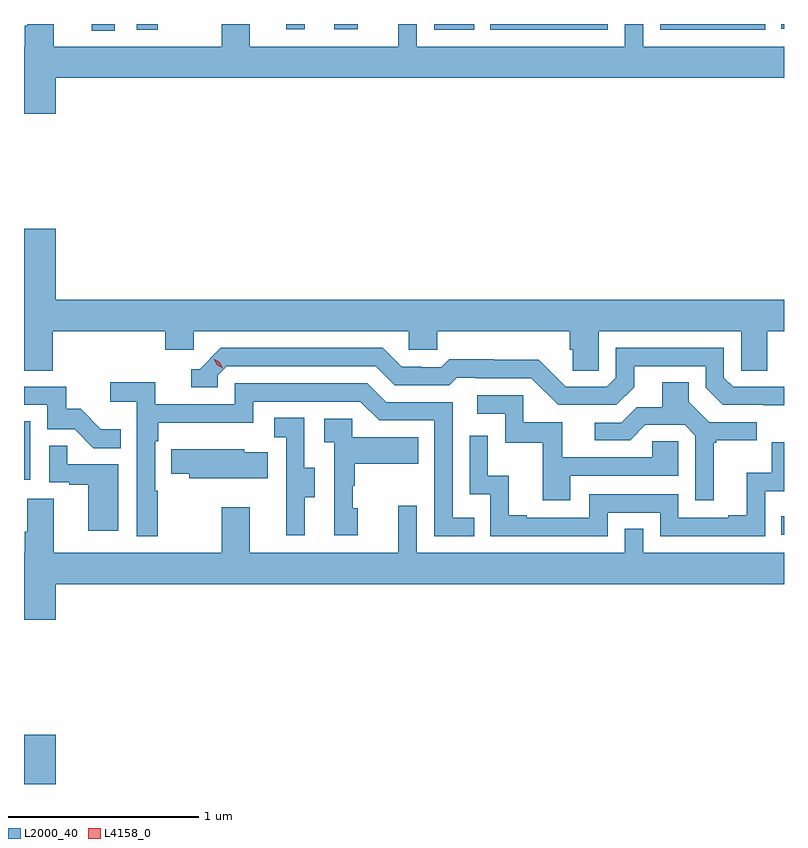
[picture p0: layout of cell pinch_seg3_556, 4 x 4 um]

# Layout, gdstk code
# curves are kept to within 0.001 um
import gdstk
lib = gdstk.Library(unit=1e-6, precision=1e-09)
def R(c, l, rs):  # rectangles x0, y0, x1, y1
    for r in rs: c.add(gdstk.rectangle(r[:2], r[2:], *l))
def P(c, l, *ps):  # polygons
    for p in ps: c.add(gdstk.Polygon(p, *l))
L2000_40 = (2000, 40)
L4158_0 = (4158, 0)

pinch_seg3_556 = lib.new_cell('pinch_seg3_556')
R(pinch_seg3_556, L2000_40, [(1142.03,685.212,1142.194,685.471), (1146.013,686.523,1146.028,686.62), (1142.028,686.814,1142.062,687.121), (1142.384,689.177,1142.506,689.212), (1142.622,689.181,1142.731,689.212), (1144.188,689.181,1144.397,689.212), (1144.482,689.181,1145.1,689.212), (1145.376,689.181,1145.928,689.212), (1143.407,689.184,1143.505,689.212), (1143.66,689.184,1143.784,689.212), (1146.013,689.187,1146.028,689.212)])
P(pinch_seg3_556, L2000_40, [(1142.194,688.928),(1146.028,688.928),(1146.028,689.092),(1145.286,689.092),(1145.286,689.212),(1145.19,689.212),(1145.19,689.092),(1144.095,689.092),(1144.095,689.212),(1143.998,689.212),(1143.998,689.092),(1143.217,689.092),(1143.217,689.212),(1143.07,689.212),(1143.07,689.092),(1142.185,689.092),(1142.185,689.212),(1142.045,689.212),(1142.045,689.204),(1142.033,689.204),(1142.033,689.092),(1142.028,689.092),(1142.028,688.928),(1142.03,688.928),(1142.03,688.74),(1142.194,688.74)],
  [(1142.18,687.596),(1142.771,687.596),(1142.771,687.498),(1142.922,687.498),(1142.922,687.596),(1144.053,687.596),(1144.053,687.498),(1144.203,687.498),(1144.203,687.596),(1144.901,687.596),(1144.901,687.498),(1144.915,687.498),(1144.915,687.388),(1145.052,687.388),(1145.052,687.596),(1145.802,687.596),(1145.802,687.388),(1145.941,687.388),(1145.941,687.596),(1146.028,687.596),(1146.028,687.76),(1142.194,687.76),(1142.194,688.135),(1142.03,688.135),(1142.03,687.76),(1142.028,687.76),(1142.028,687.388),(1142.18,687.388)],
  [(1146.028,687.303),(1145.76,687.303),(1145.712,687.351),(1145.712,687.507),(1145.142,687.507),(1145.142,687.351),(1145.094,687.303),(1144.878,687.303),(1144.736,687.445),(1144.5,687.445),(1144.5,687.448),(1144.267,687.448),(1144.225,687.405),(1144.122,687.405),(1144.122,687.408),(1144.015,687.408),(1143.916,687.507),(1143.063,687.507),(1142.952,687.396),(1142.909,687.396),(1142.909,687.3),(1143.048,687.3),(1143.048,687.363),(1143.096,687.411),(1143.879,687.411),(1143.978,687.312),(1144.267,687.312),(1144.306,687.351),(1144.405,687.351),(1144.405,687.348),(1144.698,687.348),(1144.839,687.207),(1145.145,687.207),(1145.239,687.301),(1145.239,687.411),(1145.616,687.411),(1145.616,687.297),(1145.706,687.207),(1146.028,687.206)],
  [(1145.659,687.009),(1145.671,687.009),(1145.671,687.02),(1145.884,687.02),(1145.884,687.117),(1145.634,687.117),(1145.527,687.224),(1145.527,687.326),(1145.387,687.326),(1145.387,687.194),(1145.252,687.194),(1145.172,687.114),(1145.031,687.114),(1145.031,687.021),(1145.218,687.021),(1145.299,687.102),(1145.505,687.102),(1145.562,687.045),(1145.562,686.706),(1145.659,686.706)],
  [(1142.731,686.756),(1142.718,686.756),(1142.718,687.017),(1142.735,687.017),(1142.735,687.113),(1143.234,687.113),(1143.234,687.225),(1143.798,687.225),(1143.897,687.126),(1144.188,687.126),(1144.188,686.517),(1144.397,686.517),(1144.397,686.613),(1144.284,686.613),(1144.284,687.222),(1143.934,687.222),(1143.835,687.321),(1143.138,687.321),(1143.138,687.21),(1142.72,687.21),(1142.72,687.326),(1142.481,687.326),(1142.481,687.224),(1142.622,687.224),(1142.622,686.517),(1142.731,686.517)],
  [(1142.537,687.079),(1142.433,687.079),(1142.326,687.186),(1142.25,687.186),(1142.25,687.303),(1142.028,687.303),(1142.028,687.207),(1142.151,687.207),(1142.151,687.078),(1142.295,687.078),(1142.393,686.98),(1142.537,686.98)],
  [(1144.903,686.835),(1145.472,686.835),(1145.472,687.015),(1145.335,687.015),(1145.335,686.931),(1144.861,686.931),(1144.861,687.117),(1144.656,687.117),(1144.656,687.258),(1144.413,687.258),(1144.413,687.162),(1144.56,687.162),(1144.56,687.009),(1144.759,687.009),(1144.759,686.706),(1144.903,686.706)],
  [(1143.505,686.722),(1143.559,686.722),(1143.559,686.877),(1143.504,686.877),(1143.504,687.14),(1143.345,687.14),(1143.345,687.037),(1143.408,687.037),(1143.408,686.733),(1143.407,686.733),(1143.407,686.52),(1143.505,686.52)],
  [(1143.784,686.664),(1143.759,686.664),(1143.759,686.783),(1143.769,686.783),(1143.769,686.897),(1144.103,686.897),(1144.103,687.037),(1143.756,687.037),(1143.756,687.135),(1143.609,687.135),(1143.609,687.011),(1143.66,687.011),(1143.66,686.52),(1143.784,686.52)],
  [(1145.1,686.64),(1145.376,686.64),(1145.376,686.517),(1145.928,686.517),(1145.928,686.753),(1146.028,686.753),(1146.028,687.012),(1145.964,687.012),(1145.964,686.851),(1145.831,686.851),(1145.831,686.626),(1145.735,686.626),(1145.735,686.613),(1145.472,686.613),(1145.472,686.736),(1145.004,686.736),(1145.004,686.613),(1144.675,686.613),(1144.675,686.626),(1144.58,686.626),(1144.58,686.834),(1144.47,686.834),(1144.47,687.046),(1144.374,687.046),(1144.374,686.736),(1144.482,686.736),(1144.482,686.517),(1145.1,686.517)],
  [(1142.524,686.895),(1142.255,686.895),(1142.255,686.993),(1142.16,686.993),(1142.16,686.799),(1142.267,686.799),(1142.267,686.787),(1142.366,686.787),(1142.366,686.544),(1142.524,686.544)],
  [(1143.311,686.959),(1143.186,686.959),(1143.186,686.974),(1142.914,686.974),(1142.914,686.973),(1142.803,686.973),(1142.803,686.845),(1142.897,686.845),(1142.897,686.822),(1143.311,686.822)],
  [(1142.194,686.264),(1146.028,686.264),(1146.028,686.428),(1145.286,686.428),(1145.286,686.555),(1145.19,686.555),(1145.19,686.428),(1144.095,686.428),(1144.095,686.677),(1143.998,686.677),(1143.998,686.428),(1143.217,686.428),(1143.217,686.668),(1143.07,686.668),(1143.07,686.428),(1142.185,686.428),(1142.185,686.714),(1142.045,686.714),(1142.045,686.54),(1142.033,686.54),(1142.033,686.428),(1142.028,686.428),(1142.028,686.264),(1142.03,686.264),(1142.03,686.076),(1142.194,686.076)])
P(pinch_seg3_556, L4158_0, [(1143.074,687.399),(1143.043,687.418),(1143.027,687.451),(1143.027,687.451),(1143.027,687.451),(1143.058,687.432),(1143.074,687.399),(1143.074,687.399)])

lib.write_gds('pinch_seg3_556.gds')
